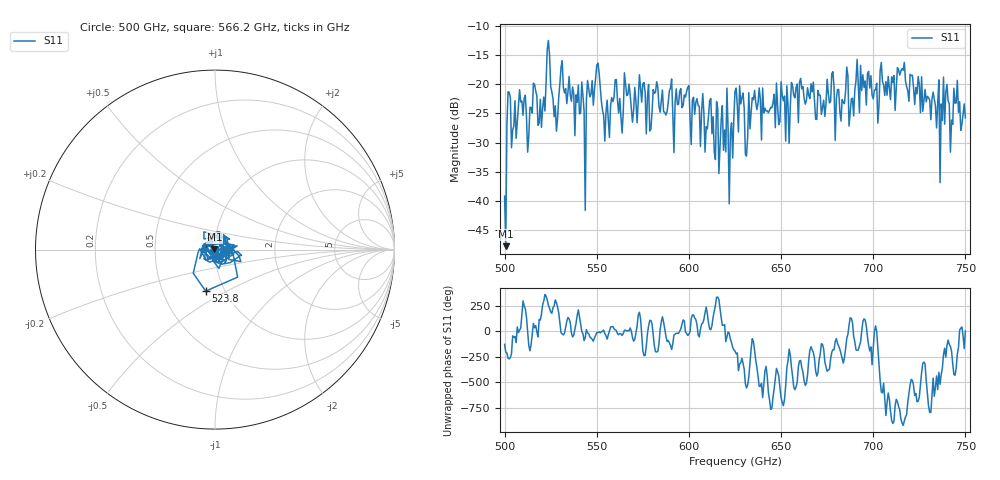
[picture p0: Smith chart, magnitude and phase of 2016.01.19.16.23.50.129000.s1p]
!Created with skrf (http://scikit-rf.org).
# GHz S RI R 50.0
!freq ReS11 ImS11
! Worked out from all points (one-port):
!   401 points, 500 GHz to 750 GHz, reference 50 ohm
!   lowest |S11| = -47.8 dB at 500.6 GHz (marker M1), VSWR 1.01, Z = 49.6 + j0.174 ohm
!   |S11| at or under -10 dB: start of sweep to end of sweep
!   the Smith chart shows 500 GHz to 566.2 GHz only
!   S11 on the Smith chart (normalised r, x): 500 GHz: 0.99, -0.02; 523.8 GHz: 0.81, -0.40; 566.2 GHz: 1.17, +0.01
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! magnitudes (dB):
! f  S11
! 500 GHz  -39.2
! 500.6 GHz  -47.8
! 502.5 GHz  -21.4
! 513.1 GHz  -28.9
! 516.2 GHz  -20.1
! 519.4 GHz  -22.6
! 523.8 GHz  -12.5
! 527.5 GHz  -23.7
! 531.2 GHz  -16.0
! 542.5 GHz  -22.0
! 550.6 GHz  -16.4
! 553.8 GHz  -25.4
! 559.4 GHz  -22.2
! 562.5 GHz  -22.4
! 566.2 GHz  -22.0
! 578.1 GHz  -20.0
! 581.9 GHz  -21.4
! 593.8 GHz  -23.5
! 622.5 GHz  -28.4
! 625 GHz  -21.2
! 628.8 GHz  -22.3
! 631.9 GHz  -29.0
! 635 GHz  -22.7
! 653.8 GHz  -23.5
! 656.2 GHz  -20.3
! 687.5 GHz  -24.8
! 718.8 GHz  -21.2
! 750 GHz  -25.7
